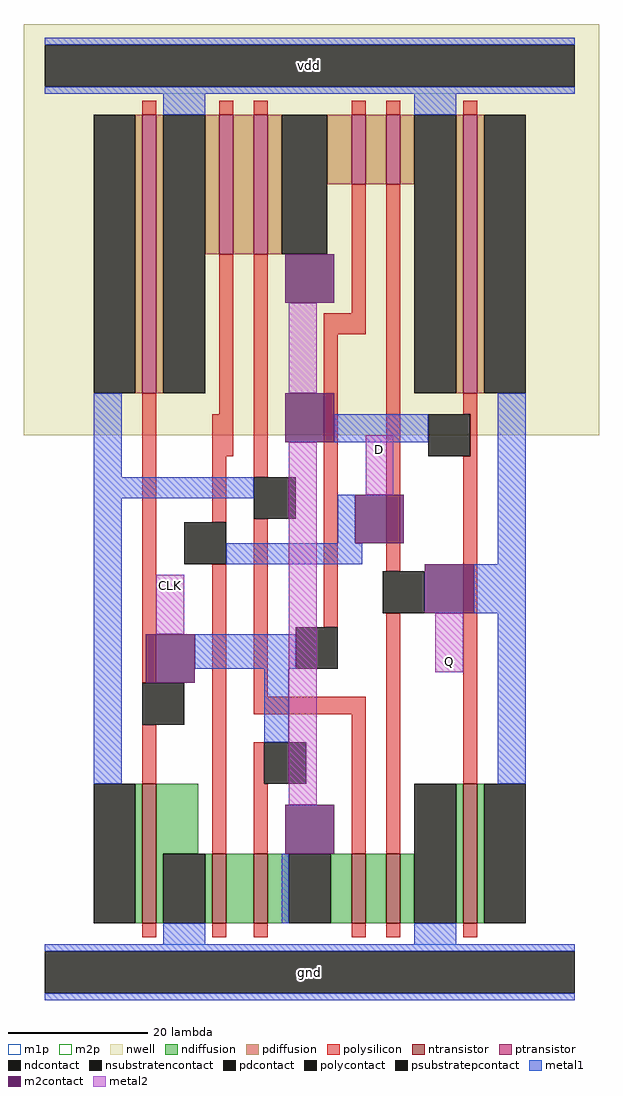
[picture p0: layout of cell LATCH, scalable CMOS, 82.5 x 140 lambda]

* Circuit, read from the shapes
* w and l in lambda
.subckt LATCH D CLK Q vdd gnd
M1 gnd CLK n1 gnd nfet w=20 l=2
M2 n2 D gnd gnd nfet w=10 l=2
M3 n3 CLK n2 gnd nfet w=10 l=2
M4 n4 n1 n3 gnd nfet w=10 l=2
M5 gnd Q n4 gnd nfet w=10 l=2
M6 Q n3 gnd gnd nfet w=20 l=2
M7 vdd CLK n1 vdd pfet w=40 l=2
M8 n5 D vdd vdd pfet w=20 l=2
M9 n3 n1 n5 vdd pfet w=20 l=2
M10 n6 CLK n3 vdd pfet w=10 l=2
M11 vdd Q n6 vdd pfet w=10 l=2
M12 Q n3 vdd vdd pfet w=40 l=2
.ends

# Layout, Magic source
magic
tech scmos
magscale 1 2
<< nwell >>
rect -12 154 153 272
<< ntransistor >>
rect 22 14 26 54
rect 42 14 46 34
rect 54 14 58 34
rect 82 14 86 34
rect 92 14 96 34
rect 114 14 118 54
<< ptransistor >>
rect 22 166 26 246
rect 44 206 48 246
rect 54 206 58 246
rect 82 226 86 246
rect 92 226 96 246
rect 114 166 118 246
<< ndiffusion >>
rect 20 14 22 54
rect 26 34 38 54
rect 26 14 28 34
rect 40 14 42 34
rect 46 14 54 34
rect 58 14 64 34
rect 76 14 82 34
rect 86 14 92 34
rect 96 14 100 34
rect 112 14 114 54
rect 118 14 120 54
<< pdiffusion >>
rect 20 166 22 246
rect 26 166 28 246
rect 40 206 44 246
rect 48 206 54 246
rect 58 206 62 246
rect 75 226 82 246
rect 86 226 92 246
rect 96 226 100 246
rect 112 166 114 246
rect 118 166 120 246
<< ndcontact >>
rect 8 14 20 54
rect 28 14 40 34
rect 64 14 76 34
rect 100 14 112 54
rect 120 14 132 54
<< pdcontact >>
rect 8 166 20 246
rect 28 166 40 246
rect 62 206 75 246
rect 100 166 112 246
rect 120 166 132 246
<< psubstratepcontact >>
rect -6 -6 146 6
<< nsubstratencontact >>
rect -6 254 146 266
<< polysilicon >>
rect 22 246 26 250
rect 44 246 48 250
rect 54 246 58 250
rect 82 246 86 250
rect 92 246 96 250
rect 114 246 118 250
rect 22 83 26 166
rect 44 160 48 206
rect 42 148 48 160
rect 42 129 46 148
rect 22 54 26 71
rect 42 34 46 117
rect 54 142 58 206
rect 82 189 86 226
rect 74 183 86 189
rect 54 79 58 130
rect 74 99 78 183
rect 92 115 96 226
rect 114 160 118 166
rect 116 148 118 160
rect 54 74 86 79
rect 54 54 57 66
rect 54 34 58 54
rect 82 34 86 74
rect 92 34 96 103
rect 114 54 118 148
rect 22 10 26 14
rect 42 10 46 14
rect 54 10 58 14
rect 82 10 86 14
rect 92 10 96 14
rect 114 10 118 14
<< polycontact >>
rect 34 117 46 129
rect 22 71 34 83
rect 54 130 66 142
rect 104 148 116 160
rect 91 103 103 115
rect 66 87 78 99
rect 57 54 69 66
<< metal1 >>
rect -6 266 146 268
rect -6 252 146 254
rect 28 246 40 252
rect 100 246 112 252
rect 8 142 16 166
rect 77 152 104 160
rect 8 136 54 142
rect 8 54 16 136
rect 78 123 83 137
rect 46 117 85 123
rect 124 117 132 166
rect 117 103 132 117
rect 37 87 66 97
rect 57 66 64 87
rect 124 54 132 103
rect 62 14 64 34
rect 28 8 40 14
rect 100 8 112 14
rect -6 6 146 8
rect -6 -8 146 -6
<< m2contact >>
rect 63 192 77 206
rect 63 152 77 166
rect 83 123 97 137
rect 103 103 117 117
rect 23 83 37 97
rect 63 34 77 48
<< metal2 >>
rect 64 166 72 192
rect 26 97 34 114
rect 64 48 72 152
rect 86 137 94 154
rect 106 86 114 103
<< m1p >>
rect -6 252 146 268
rect -6 -8 146 8
<< m2p >>
rect 86 137 94 154
rect 26 97 34 114
rect 106 86 114 103
<< labels >>
rlabel metal2 30 111 30 111 1 CLK
port 2 n signal input
rlabel metal2 110 89 110 89 3 Q
port 3 n signal output
rlabel metal1 -6 252 146 268 0 vdd
port 4 nsew power bidirectional abutment
rlabel metal1 -6 -8 146 8 0 gnd
port 5 nsew ground bidirectional abutment
rlabel metal2 90 150 90 150 1 D
port 1 n signal input
<< properties >>
string FIXED_BBOX 0 0 140 260
string LEFclass CORE
string LEFsite core
string LEFsymmetry X Y
<< end >>
